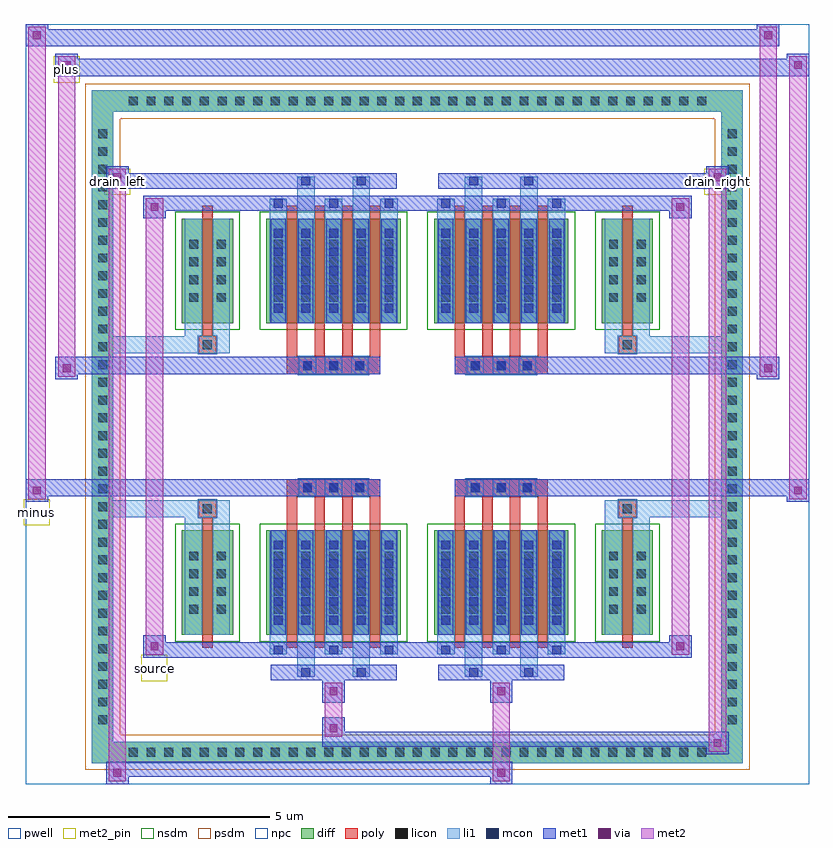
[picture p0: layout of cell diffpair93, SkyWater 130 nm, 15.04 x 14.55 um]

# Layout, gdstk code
import gdstk
lib = gdstk.Library(unit=1e-6, precision=5e-09)
def R(c, l, rs):  # rectangles x0, y0, x1, y1
    for r in rs: c.add(gdstk.rectangle(r[:2], r[2:], *l))
def A(c, l, x, y, w, h, nx, ny, dx, dy):  # array of equal rectangles
    R(c, l, [(x+i*dx, y+j*dy, x+i*dx+w, y+j*dy+h) for i in range(nx) for j in range(ny)])
def P(c, l, *ps):  # polygons
    for p in ps: c.add(gdstk.Polygon(p, *l))
pwell = (64, 44)
diff = (65, 20)
poly = (66, 20)
licon = (66, 44)
li1 = (67, 20)
mcon = (67, 44)
met1 = (68, 20)
via = (68, 44)
met2_pin = (69, 16)
met2 = (69, 20)
nsdm = (93, 44)
psdm = (94, 20)
npc = (95, 20)

diffpair93 = lib.new_cell('diffpair93')
R(diffpair93, pwell, [(-7.5,-6.84,7.5,7.71), (-4.82,-5.03,-0.01,-0.805), (0.01,-5.03,4.82,-0.805), (-4.82,0.805,-0.01,5.03), (0.01,0.805,4.82,5.03)])
A(diffpair93, diff, -5.645, -6.44, 0.41, 0.41, 33, 2, 0.34, 12.47)
A(diffpair93, diff, -6.23, -5.815, 0.41, 0.41, 1, 34, 0, 0.34)
A(diffpair93, diff, 5.82, -5.815, 0.41, 0.41, 1, 34, 0, 0.34)
R(diffpair93, diff, [(-5.645,-6.44,5.645,-6.03), (-6.23,-5.815,-5.82,5.815), (5.82,-5.815,6.23,5.815), (-4.51,-3.985,-3.53,-1.985), (-2.89,-3.985,-0.32,-1.985), (0.32,-3.985,2.89,-1.985), (3.53,-3.985,4.51,-1.985), (-4.51,1.985,-3.53,3.985), (-2.89,1.985,-0.32,3.985), (0.32,1.985,2.89,3.985), (3.53,1.985,4.51,3.985), (-5.645,6.03,5.645,6.44)])
P(diffpair93, diff, [(6.23,6.44),(-6.23,6.44),(-6.23,-6.03),(-5.82,-6.03),(-5.82,6.03),(5.82,6.03),(5.82,-6.03),(-5.82,-6.03),(-6.23,-6.03),(-6.23,-6.44),(6.23,-6.44)])
A(diffpair93, poly, -2.5, -4.235, 0.2, 2.5, 4, 2, 0.53, 5.97)
A(diffpair93, poly, 0.71, -4.235, 0.2, 2.5, 4, 2, 0.53, 5.97)
A(diffpair93, poly, -2.5, -1.735, 0.2, 0.4, 4, 2, 0.53, 3.07)
A(diffpair93, poly, 0.71, -1.735, 0.2, 0.4, 4, 2, 0.53, 3.07)
A(diffpair93, poly, -2.27, -1.335, 0.33, 0.33, 3, 2, 0.5, 2.34)
A(diffpair93, poly, 0.94, -1.335, 0.33, 0.33, 3, 2, 0.5, 2.34)
R(diffpair93, poly, [(-4.12,-4.235,-3.92,-1.735), (3.92,-4.235,4.12,-1.735), (-4.185,-1.735,-3.855,-1.405), (-4.185,-1.735,-3.855,-1.405), (3.855,-1.735,4.185,-1.405), (3.855,-1.735,4.185,-1.405), (-2.5,-1.335,-0.71,-1.005), (0.71,-1.335,2.5,-1.005), (-2.5,1.005,-0.71,1.335), (0.71,1.005,2.5,1.335), (-4.185,1.405,-3.855,1.735), (-4.185,1.405,-3.855,1.735), (3.855,1.405,4.185,1.735), (3.855,1.405,4.185,1.735), (-4.12,1.735,-3.92,4.235), (3.92,1.735,4.12,4.235)])
A(diffpair93, licon, -5.525, -6.32, 0.17, 0.17, 33, 2, 0.34, 12.47)
A(diffpair93, licon, -6.11, -5.695, 0.17, 0.17, 1, 34, 0, 0.34)
A(diffpair93, licon, 5.94, -5.695, 0.17, 0.17, 1, 34, 0, 0.34)
A(diffpair93, licon, -4.37, -3.58, 0.17, 0.17, 1, 4, 0, 0.34)
A(diffpair93, licon, -3.84, -3.58, 0.17, 0.17, 1, 4, 0, 0.34)
A(diffpair93, licon, -2.75, -3.58, 0.17, 0.17, 5, 4, 0.53, 0.34)
A(diffpair93, licon, 0.46, -3.58, 0.17, 0.17, 5, 4, 0.53, 0.34)
A(diffpair93, licon, 3.67, -3.58, 0.17, 0.17, 1, 4, 0, 0.34)
A(diffpair93, licon, 4.2, -3.58, 0.17, 0.17, 1, 4, 0, 0.34)
A(diffpair93, licon, -2.19, -1.255, 0.17, 0.17, 3, 2, 0.5, 2.34)
A(diffpair93, licon, 1.02, -1.255, 0.17, 0.17, 3, 2, 0.5, 2.34)
A(diffpair93, licon, -4.37, 2.39, 0.17, 0.17, 1, 4, 0, 0.34)
A(diffpair93, licon, -3.84, 2.39, 0.17, 0.17, 1, 4, 0, 0.34)
A(diffpair93, licon, -2.75, 2.39, 0.17, 0.17, 5, 4, 0.53, 0.34)
A(diffpair93, licon, 0.46, 2.39, 0.17, 0.17, 5, 4, 0.53, 0.34)
A(diffpair93, licon, 3.67, 2.39, 0.17, 0.17, 1, 4, 0, 0.34)
A(diffpair93, licon, 4.2, 2.39, 0.17, 0.17, 1, 4, 0, 0.34)
R(diffpair93, licon, [(-4.105,-1.655,-3.935,-1.485), (3.935,-1.655,4.105,-1.485), (-4.105,1.485,-3.935,1.655), (3.935,1.485,4.105,1.655)])
A(diffpair93, li1, -5.605, -6.4, 0.33, 0.33, 33, 2, 0.34, 12.47)
A(diffpair93, li1, -6.19, -5.775, 0.33, 0.33, 1, 34, 0, 0.34)
A(diffpair93, li1, 5.86, -5.775, 0.33, 0.33, 1, 34, 0, 0.34)
A(diffpair93, li1, -2.83, -4.36, 0.33, 0.375, 3, 2, 1.06, 8.345)
A(diffpair93, li1, -2.75, -4.36, 0.17, 0.17, 3, 2, 1.06, 8.55)
A(diffpair93, li1, 0.38, -4.36, 0.33, 0.375, 3, 2, 1.06, 8.345)
A(diffpair93, li1, 0.46, -4.36, 0.17, 0.17, 3, 2, 1.06, 8.55)
A(diffpair93, li1, -2.83, -3.985, 0.33, 2, 5, 2, 0.53, 5.97)
A(diffpair93, li1, 0.38, -3.985, 0.33, 2, 5, 2, 0.53, 5.97)
A(diffpair93, li1, -2.75, -3.79, 0.17, 0.17, 5, 5, 0.53, 0.36)
A(diffpair93, li1, -2.75, -3.79, 0.17, 1.61, 5, 2, 0.53, 5.97)
A(diffpair93, li1, 0.46, -3.79, 0.17, 0.17, 5, 5, 0.53, 0.36)
A(diffpair93, li1, 0.46, -3.79, 0.17, 1.61, 5, 2, 0.53, 5.97)
A(diffpair93, li1, -4.45, -3.66, 0.33, 0.33, 1, 4, 0, 0.34)
A(diffpair93, li1, -3.92, -3.66, 0.33, 0.33, 1, 4, 0, 0.34)
A(diffpair93, li1, -2.83, -3.66, 0.33, 0.33, 5, 4, 0.53, 0.34)
A(diffpair93, li1, 0.38, -3.66, 0.33, 0.33, 5, 4, 0.53, 0.34)
A(diffpair93, li1, 3.59, -3.66, 0.33, 0.33, 1, 4, 0, 0.34)
A(diffpair93, li1, 4.12, -3.66, 0.33, 0.33, 1, 4, 0, 0.34)
A(diffpair93, li1, -2.27, -1.335, 0.33, 0.33, 3, 2, 0.5, 2.34)
A(diffpair93, li1, 0.94, -1.335, 0.33, 0.33, 3, 2, 0.5, 2.34)
A(diffpair93, li1, -2.75, 2.18, 0.17, 0.17, 5, 5, 0.53, 0.36)
A(diffpair93, li1, 0.46, 2.18, 0.17, 0.17, 5, 5, 0.53, 0.36)
A(diffpair93, li1, -4.45, 2.31, 0.33, 0.33, 1, 4, 0, 0.34)
A(diffpair93, li1, -3.92, 2.31, 0.33, 0.33, 1, 4, 0, 0.34)
A(diffpair93, li1, -2.83, 2.31, 0.33, 0.33, 5, 4, 0.53, 0.34)
A(diffpair93, li1, 0.38, 2.31, 0.33, 0.33, 5, 4, 0.53, 0.34)
A(diffpair93, li1, 3.59, 2.31, 0.33, 0.33, 1, 4, 0, 0.34)
A(diffpair93, li1, 4.12, 2.31, 0.33, 0.33, 1, 4, 0, 0.34)
R(diffpair93, li1, [(-6.23,-6.44,-5.82,-6.03), (-6.23,-6.44,-5.82,-6.03), (-5.82,-6.44,5.82,-6.03), (5.82,-6.44,6.23,-6.03), (5.82,-6.44,6.23,-6.03), (-6.23,-6.03,-5.82,6.03), (5.82,-6.03,6.23,6.03), (-2.3,-4.79,-1.97,-3.985), (-2.22,-4.79,-2.05,-4.62), (-1.24,-4.79,-0.91,-3.985), (-1.16,-4.79,-0.99,-4.62), (0.91,-4.79,1.24,-3.985), (0.99,-4.79,1.16,-4.62), (1.97,-4.79,2.3,-3.985), (2.05,-4.79,2.22,-4.62), (-4.45,-3.985,-4.12,-1.985), (-3.92,-3.985,-3.59,-1.985), (3.59,-3.985,3.92,-1.985), (4.12,-3.985,4.45,-1.985), (-4.45,-1.985,-4.12,-1.405), (-3.92,-1.985,-3.59,-1.405), (3.59,-1.985,3.92,-1.405), (4.12,-1.985,4.45,-1.405), (-6.23,-1.735,-4.185,-1.405), (-4.45,-1.735,-4.185,-1.405), (-4.185,-1.735,-3.855,-1.405), (-3.855,-1.735,-3.59,-1.405), (3.59,-1.735,3.855,-1.405), (3.855,-1.735,4.185,-1.405), (3.855,-1.735,6.23,-1.405), (4.185,-1.735,4.45,-1.405), (-6.23,1.405,-4.185,1.735), (-4.45,1.405,-4.185,1.735), (-4.45,1.405,-4.12,1.985), (-4.185,1.405,-3.855,1.735), (-3.92,1.405,-3.59,1.985), (-3.855,1.405,-3.59,1.735), (3.59,1.405,3.855,1.735), (3.59,1.405,3.92,1.985), (3.855,1.405,4.185,1.735), (3.855,1.405,6.23,1.735), (4.12,1.405,4.45,1.985), (4.185,1.405,4.45,1.735), (-4.45,1.985,-4.12,3.985), (-3.92,1.985,-3.59,3.985), (3.59,1.985,3.92,3.985), (4.12,1.985,4.45,3.985), (-2.3,3.985,-1.97,4.79), (-1.24,3.985,-0.91,4.79), (0.91,3.985,1.24,4.79), (1.97,3.985,2.3,4.79), (-2.22,4.62,-2.05,4.79), (-1.16,4.62,-0.99,4.79), (0.99,4.62,1.16,4.79), (2.05,4.62,2.22,4.79), (-6.23,6.03,-5.82,6.44), (-6.23,6.03,-5.82,6.44), (-5.82,6.03,5.82,6.44), (5.82,6.03,6.23,6.44), (5.82,6.03,6.23,6.44)])
A(diffpair93, mcon, -2.75, -4.36, 0.17, 0.17, 3, 2, 1.06, 8.55)
A(diffpair93, mcon, 0.46, -4.36, 0.17, 0.17, 3, 2, 1.06, 8.55)
A(diffpair93, mcon, -2.75, -3.79, 0.17, 0.17, 5, 5, 0.53, 0.36)
A(diffpair93, mcon, 0.46, -3.79, 0.17, 0.17, 5, 5, 0.53, 0.36)
A(diffpair93, mcon, -2.19, -1.255, 0.17, 0.17, 3, 2, 0.5, 2.34)
A(diffpair93, mcon, 1.02, -1.255, 0.17, 0.17, 3, 2, 0.5, 2.34)
A(diffpair93, mcon, -2.75, 2.18, 0.17, 0.17, 5, 5, 0.53, 0.36)
A(diffpair93, mcon, 0.46, 2.18, 0.17, 0.17, 5, 5, 0.53, 0.36)
R(diffpair93, mcon, [(-2.22,-4.79,-2.05,-4.62), (-1.16,-4.79,-0.99,-4.62), (0.99,-4.79,1.16,-4.62), (2.05,-4.79,2.22,-4.62), (-2.22,4.62,-2.05,4.79), (-1.16,4.62,-0.99,4.79), (0.99,4.62,1.16,4.79), (2.05,4.62,2.22,4.79)])
A(diffpair93, met1, -2.81, -4.42, 0.29, 0.29, 3, 2, 1.06, 8.55)
A(diffpair93, met1, 0.4, -4.42, 0.29, 0.29, 3, 2, 1.06, 8.55)
A(diffpair93, met1, -2.81, -3.985, 0.29, 2, 5, 2, 0.53, 5.97)
A(diffpair93, met1, 0.4, -3.985, 0.29, 2, 5, 2, 0.53, 5.97)
A(diffpair93, met1, -2.81, -3.85, 0.29, 0.29, 5, 5, 0.53, 0.36)
A(diffpair93, met1, 0.4, -3.85, 0.29, 0.29, 5, 5, 0.53, 0.36)
A(diffpair93, met1, -2.25, -1.315, 0.29, 0.29, 3, 2, 0.5, 2.34)
A(diffpair93, met1, 0.96, -1.315, 0.29, 0.29, 3, 2, 0.5, 2.34)
A(diffpair93, met1, -2.81, 2.12, 0.29, 0.29, 5, 5, 0.53, 0.36)
A(diffpair93, met1, 0.4, 2.12, 0.29, 0.29, 5, 5, 0.53, 0.36)
R(diffpair93, met1, [(-5.96,-6.84,-5.53,-6.41), (1.39,-6.84,1.82,-6.41), (-5.96,-6.7,1.82,-6.41), (5.53,-6.27,5.96,-5.84), (-1.82,-6.13,5.96,-5.84), (-1.82,-5.99,-1.39,-5.56), (-1.82,-5.28,-1.39,-4.85), (1.39,-5.28,1.82,-4.85), (-2.81,-4.85,-0.4,-4.56), (-2.28,-4.85,-1.99,-4.56), (-1.22,-4.85,-0.93,-4.56), (0.4,-4.85,2.81,-4.56), (0.93,-4.85,1.22,-4.56), (1.99,-4.85,2.28,-4.56), (-5.25,-4.42,-4.82,-3.99), (-5.25,-4.42,-2.81,-4.13), (-2.81,-4.42,-0.4,-4.13), (-0.4,-4.42,0.4,-4.13), (0.4,-4.42,2.81,-4.13), (2.81,-4.42,5.25,-4.13), (4.82,-4.42,5.25,-3.99), (-7.5,-1.435,-7.07,-1.005), (7.07,-1.435,7.5,-1.005), (-7.5,-1.335,-0.71,-1.005), (-2.5,-1.335,-0.71,-1.005), (0.71,-1.335,2.5,-1.005), (0.71,-1.335,7.5,-1.005), (-6.93,0.905,-6.5,1.335), (6.5,0.905,6.93,1.335), (-6.93,1.005,-2.5,1.335), (-2.5,1.005,-0.71,1.335), (0.71,1.005,2.5,1.335), (2.5,1.005,6.93,1.335), (-5.25,3.99,-4.82,4.42), (4.82,3.99,5.25,4.42), (-5.25,4.13,-2.81,4.42), (-2.81,4.13,-0.4,4.42), (-0.4,4.13,0.4,4.42), (0.4,4.13,2.81,4.42), (2.81,4.13,5.25,4.42), (-5.96,4.56,-5.53,4.99), (-5.96,4.56,-2.81,4.85), (-2.81,4.56,-0.4,4.85), (-2.28,4.56,-1.99,4.85), (-1.22,4.56,-0.93,4.85), (0.4,4.56,2.81,4.85), (0.93,4.56,1.22,4.85), (1.99,4.56,2.28,4.85), (2.81,4.56,5.96,4.85), (5.53,4.56,5.96,4.99), (-6.93,6.71,-6.5,7.14), (-6.93,6.71,-4.82,7.04), (-4.82,6.71,4.82,7.04), (4.82,6.71,7.5,7.04), (7.07,6.71,7.5,7.14), (-7.5,7.28,-7.07,7.71), (-7.5,7.28,-4.82,7.61), (-4.82,7.28,4.82,7.61), (4.82,7.28,6.93,7.61), (6.5,7.28,6.93,7.71)])
R(diffpair93, via, [(-5.82,-6.7,-5.67,-6.55), (1.53,-6.7,1.68,-6.55), (5.67,-6.13,5.82,-5.98), (-1.68,-5.85,-1.53,-5.7), (-1.68,-5.14,-1.53,-4.99), (1.53,-5.14,1.68,-4.99), (-5.11,-4.28,-4.96,-4.13), (4.96,-4.28,5.11,-4.13), (-7.36,-1.295,-7.21,-1.145), (7.21,-1.295,7.36,-1.145), (-6.79,1.045,-6.64,1.195), (6.64,1.045,6.79,1.195), (-5.11,4.13,-4.96,4.28), (4.96,4.13,5.11,4.28), (-5.82,4.7,-5.67,4.85), (5.67,4.7,5.82,4.85), (-6.79,6.85,-6.64,7), (7.21,6.85,7.36,7), (-7.36,7.42,-7.21,7.57), (6.64,7.42,6.79,7.57)])
R(diffpair93, met2_pin, [(-5.285,-4.87,-4.785,-4.37), (-7.535,-1.885,-7.035,-1.385), (-5.995,4.44,-5.495,4.94), (5.495,4.44,5.995,4.94), (-6.965,6.59,-6.465,7.09)])
R(diffpair93, met2, [(-5.91,-6.79,-5.58,-6.46), (-5.91,-6.79,-5.58,4.94), (1.44,-6.79,1.77,-6.46), (1.44,-6.46,1.77,-5.23), (5.58,-6.22,5.91,-5.89), (5.58,-6.22,5.91,4.94), (-1.77,-5.94,-1.44,-5.61), (-1.77,-5.61,-1.44,-5.23), (-1.77,-5.23,-1.44,-4.9), (1.44,-5.23,1.77,-4.9), (-5.2,-4.37,-4.87,-4.04), (-5.2,-4.37,-4.87,4.37), (4.87,-4.37,5.2,-4.04), (4.87,-4.37,5.2,4.37), (-7.45,-1.385,-7.12,-1.055), (-7.45,-1.385,-7.12,7.66), (7.12,-1.385,7.45,-1.055), (7.12,-1.385,7.45,7.09), (-6.88,0.955,-6.55,1.285), (-6.88,0.955,-6.55,7.09), (6.55,0.955,6.88,1.285), (6.55,0.955,6.88,7.66), (-5.2,4.04,-4.87,4.37), (4.87,4.04,5.2,4.37), (-5.91,4.61,-5.58,4.94), (5.58,4.61,5.91,4.94), (-6.88,6.76,-6.55,7.09), (7.12,6.76,7.45,7.09), (-7.45,7.33,-7.12,7.66), (6.55,7.33,6.88,7.66)])
P(diffpair93, met2, [(7.45,-1.385),(7.45,-1.385),(7.45,-1.055),(7.45,-1.055)],
  [(7.45,6.76),(7.45,6.76),(7.45,7.09),(7.45,7.09)],
  [(-7.12,-1.385),(-7.12,-1.385),(-7.12,-1.055),(-7.12,-1.055)],
  [(-7.12,7.33),(-7.12,7.33),(-7.12,7.66),(-7.12,7.66)],
  [(6.88,0.955),(6.88,0.955),(6.88,1.285),(6.88,1.285)],
  [(6.88,7.33),(6.88,7.33),(6.88,7.66),(6.88,7.66)],
  [(-6.55,0.955),(-6.55,0.955),(-6.55,1.285),(-6.55,1.285)],
  [(-6.55,6.76),(-6.55,6.76),(-6.55,7.09),(-6.55,7.09)],
  [(-5.58,-6.79),(-5.58,-6.79),(-5.58,-6.46),(-5.58,-6.46)],
  [(-5.58,4.61),(-5.58,4.61),(-5.58,4.94),(-5.58,4.94)],
  [(5.91,-6.22),(5.91,-6.22),(5.91,-5.89),(5.91,-5.89)],
  [(5.91,4.61),(5.91,4.61),(5.91,4.94),(5.91,4.94)],
  [(-4.87,-4.37),(-4.87,-4.37),(-4.87,-4.04),(-4.87,-4.04)],
  [(-4.87,4.04),(-4.87,4.04),(-4.87,4.37),(-4.87,4.37)],
  [(5.2,-4.37),(5.2,-4.37),(5.2,-4.04),(5.2,-4.04)],
  [(5.2,4.04),(5.2,4.04),(5.2,4.37),(5.2,4.37)])
R(diffpair93, nsdm, [(-4.64,-4.115,-3.4,-1.855), (-3.02,-4.115,-0.19,-1.855), (0.19,-4.115,3.02,-1.855), (3.4,-4.115,4.64,-1.855), (-4.64,1.855,-3.4,4.115), (-3.02,1.855,-0.19,4.115), (0.19,1.855,3.02,4.115), (3.4,1.855,4.64,4.115)])
P(diffpair93, psdm, [(6.36,6.57),(-6.36,6.57),(-6.36,-5.9),(-5.69,-5.9),(-5.69,5.9),(5.69,5.9),(5.69,-5.9),(-5.69,-5.9),(-6.36,-5.9),(-6.36,-6.57),(6.36,-6.57)])
A(diffpair93, npc, -2.29, -1.355, 0.37, 0.37, 3, 2, 0.5, 2.34)
A(diffpair93, npc, 0.92, -1.355, 0.37, 0.37, 3, 2, 0.5, 2.34)
R(diffpair93, npc, [(-4.205,-1.755,-3.835,-1.385), (3.835,-1.755,4.205,-1.385), (-2.29,-1.355,-1.42,-0.985), (-2.29,-1.355,-1.42,-0.985), (-1.79,-1.355,-0.92,-0.985), (-1.79,-1.355,-0.92,-0.985), (0.92,-1.355,1.79,-0.985), (0.92,-1.355,1.79,-0.985), (1.42,-1.355,2.29,-0.985), (1.42,-1.355,2.29,-0.985), (-2.29,0.985,-1.42,1.355), (-2.29,0.985,-1.42,1.355), (-1.79,0.985,-0.92,1.355), (-1.79,0.985,-0.92,1.355), (0.92,0.985,1.79,1.355), (0.92,0.985,1.79,1.355), (1.42,0.985,2.29,1.355), (1.42,0.985,2.29,1.355), (-4.205,1.385,-3.835,1.755), (3.835,1.385,4.205,1.755)])
diffpair93.add(gdstk.Label('minus', (-7.285,-1.635), layer=69, texttype=5))
diffpair93.add(gdstk.Label('drain_right', (5.745,4.69), layer=69, texttype=5))
diffpair93.add(gdstk.Label('drain_left', (-5.745,4.69), layer=69, texttype=5))
diffpair93.add(gdstk.Label('source', (-5.035,-4.62), layer=69, texttype=5))
diffpair93.add(gdstk.Label('plus', (-6.715,6.84), layer=69, texttype=5))

lib.write_gds('diffpair93.gds')
